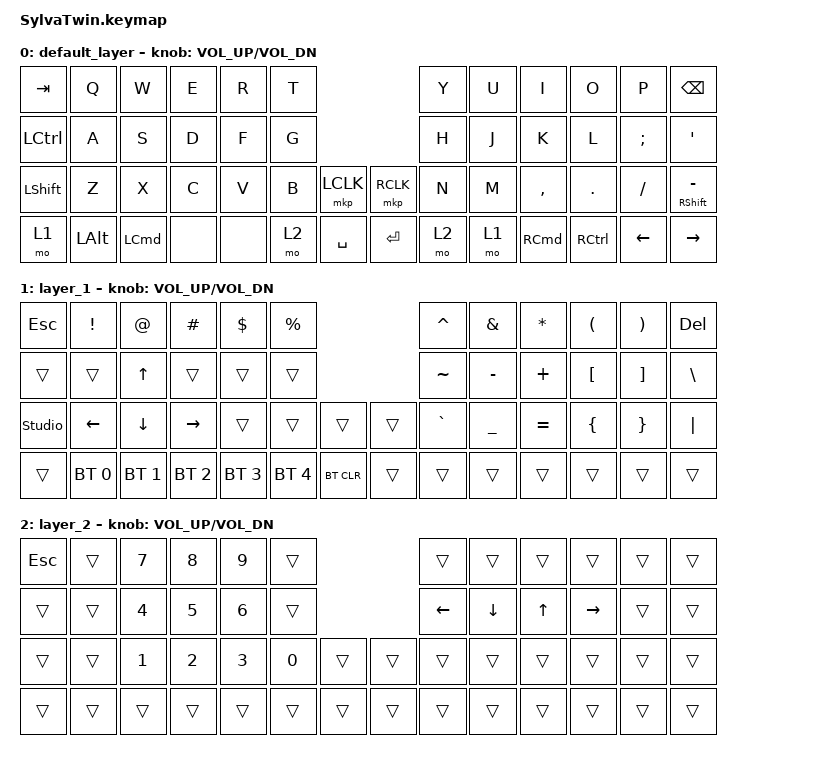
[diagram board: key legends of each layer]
/*
 * Copyright (c) 2020 The ZMK Contributors
 *
 * SPDX-License-Identifier: MIT
 */

#include <behaviors.dtsi>
#include <dt-bindings/zmk/bt.h>
#include <dt-bindings/zmk/keys.h>
#include <dt-bindings/zmk/pointing.h>

/ {
    combos {
        compatible = "zmk,combos";

        prtsc {
            bindings = <&kp PRINTSCREEN>;
            key-positions = <10 11>;
        };

        RightClick {
            bindings = <&mkp RCLK>;
            key-positions = <30 44>;
        };

        MiddleClick {
            bindings = <&mkp MCLK>;
            key-positions = <29 43>;
        };

        RightClick2 {
            bindings = <&mkp RCLK>;
            key-positions = <31 45>;
        };

        MiddleClick2 {
            bindings = <&mkp MCLK>;
            key-positions = <32 46>;
        };

        zen-han {
            bindings = <&kp GRAVE>;
            key-positions = <0 1>;
        };

        paste {
            bindings = <&kp LC(V)>;
            key-positions = <42 28>;
        };

        copy {
            bindings = <&kp LC(C)>;
            key-positions = <41 27>;
        };

        cut {
            bindings = <&kp LC(X)>;
            key-positions = <40 26>;
        };

        prev_click {
            bindings = <&mkp MB4>;
            key-positions = <29 30>;
        };
    };

    keymap {
        compatible = "zmk,keymap";

        default_layer {
            bindings = <
&kp TAB     &kp Q         &kp W             &kp E  &kp R  &kp T                        &kp Y  &kp U  &kp I              &kp O              &kp P           &kp BSPC
&kp LCTRL   &kp A         &kp S             &kp D  &kp F  &kp G                        &kp H  &kp J  &kp K              &kp L              &kp SEMI        &kp SINGLE_QUOTE
&kp LSHIFT  &kp Z         &kp X             &kp C  &kp V  &kp B  &mkp LCLK  &mkp RCLK  &kp N  &kp M  &kp COMMA          &kp DOT            &kp SLASH       &mt RSHIFT MINUS
&mo 1       &kp LEFT_ALT  &kp LEFT_COMMAND  &none  &none  &mo 2  &kp SPACE  &kp ENTER  &mo 2  &mo 1  &kp RIGHT_COMMAND  &kp RIGHT_CONTROL  &kp LEFT_ARROW  &kp RIGHT
            >;

            sensor-bindings = <&inc_dec_kp C_VOL_UP C_VOL_DN>;
        };

        layer_1 {
            bindings = <
&kp ESCAPE      &kp EXCLAMATION  &kp AT_SIGN     &kp POUND        &kp DOLLAR    &kp PERCENT                       &kp CARET  &kp AMPERSAND   &kp ASTERISK  &kp LEFT_PARENTHESIS  &kp RIGHT_PARENTHESIS  &kp DELETE
&trans          &trans           &kp UP_ARROW    &trans           &trans        &trans                            &kp TILDE  &kp MINUS       &kp PLUS      &kp LEFT_BRACKET      &kp RIGHT_BRACKET      &kp BACKSLASH
&studio_unlock  &kp LEFT_ARROW   &kp DOWN_ARROW  &kp RIGHT_ARROW  &trans        &trans        &trans      &trans  &kp GRAVE  &kp UNDERSCORE  &kp EQUAL     &kp LEFT_BRACE        &kp RIGHT_BRACE        &kp PIPE
&trans          &bt BT_SEL 0     &bt BT_SEL 1    &bt BT_SEL 2     &bt BT_SEL 3  &bt BT_SEL 4  &bt BT_CLR  &trans  &trans     &trans          &trans        &trans                &trans                 &trans
            >;

            sensor-bindings = <&inc_dec_kp C_VOL_UP C_VOL_DN>;
        };

        layer_2 {
            bindings = <
&kp ESCAPE  &trans  &kp NUMBER_7  &kp NUMBER_8  &kp NUMBER_9  &trans                        &trans          &trans          &trans        &trans           &trans  &trans
&trans      &trans  &kp NUMBER_4  &kp NUMBER_5  &kp NUMBER_6  &trans                        &kp LEFT_ARROW  &kp DOWN_ARROW  &kp UP_ARROW  &kp RIGHT_ARROW  &trans  &trans
&trans      &trans  &kp NUMBER_1  &kp NUMBER_2  &kp NUMBER_3  &kp NUMBER_0  &trans  &trans  &trans          &trans          &trans        &trans           &trans  &trans
&trans      &trans  &trans        &trans        &trans        &trans        &trans  &trans  &trans          &trans          &trans        &trans           &trans  &trans
            >;

            sensor-bindings = <&inc_dec_kp C_VOL_UP C_VOL_DN>;
        };
    };
};
